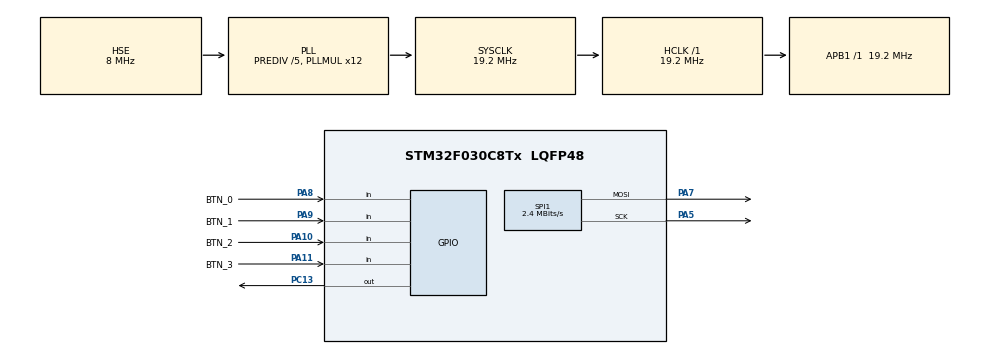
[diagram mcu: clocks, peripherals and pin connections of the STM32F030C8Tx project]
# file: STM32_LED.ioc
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Dma.Request0=SPI1_TX
Dma.SPI1_TX.0.Direction=DMA_MEMORY_TO_PERIPH
Dma.SPI1_TX.0.Instance=DMA1_Channel3
Dma.SPI1_TX.0.MemDataAlignment=DMA_MDATAALIGN_BYTE
Dma.SPI1_TX.0.MemInc=DMA_MINC_ENABLE
Dma.SPI1_TX.0.Mode=DMA_NORMAL
Dma.SPI1_TX.0.PeriphDataAlignment=DMA_PDATAALIGN_BYTE
Dma.SPI1_TX.0.PeriphInc=DMA_PINC_DISABLE
Dma.SPI1_TX.0.Priority=DMA_PRIORITY_LOW
Mcu.Family=STM32F0
Mcu.Name=STM32F030C8Tx
Mcu.Package=LQFP48
NVIC.DMA1_Channel2_3_IRQn=true\:0\:0\:false\:false\:true\:false\:true\:true
PA10.GPIO_Label=BTN_2
PA10.GPIO_PuPd=GPIO_PULLUP
PA10.Signal=GPIO_Input
PA11.GPIO_Label=BTN_3
PA11.GPIO_PuPd=GPIO_PULLUP
PA11.Signal=GPIO_Input
PA5.Mode=TX_Only_Simplex_Unidirect_Master
PA5.Signal=SPI1_SCK
PA7.Mode=TX_Only_Simplex_Unidirect_Master
PA7.Signal=SPI1_MOSI
PA8.GPIO_Label=BTN_0
PA8.GPIO_PuPd=GPIO_PULLUP
PA8.Signal=GPIO_Input
PA9.GPIO_Label=BTN_1
PA9.GPIO_PuPd=GPIO_PULLUP
PA9.Signal=GPIO_Input
PC13.Signal=GPIO_Output
PF0-OSC_IN.Mode=HSE-External-Oscillator
PF0-OSC_IN.Signal=RCC_OSC_IN
PF1-OSC_OUT.Mode=HSE-External-Oscillator
PF1-OSC_OUT.Signal=RCC_OSC_OUT
ProjectManager.HeapSize=0x200
ProjectManager.StackSize=0x400
ProjectManager.TargetToolchain=STM32CubeIDE
RCC.AHBFreq_Value=19200000
RCC.APB1Freq_Value=19200000
RCC.APB1TimFreq_Value=19200000
RCC.HCLKFreq_Value=19200000
RCC.PLLDivider=RCC_PREDIV_DIV5
RCC.PLLMUL=RCC_PLL_MUL12
RCC.PLLSourceVirtual=RCC_PLLSOURCE_HSE
RCC.SYSCLKFreq_VALUE=19200000
RCC.SYSCLKSource=RCC_SYSCLKSOURCE_PLLCLK
SPI1.BaudRatePrescaler=SPI_BAUDRATEPRESCALER_8
SPI1.CalculateBaudRate=2.4 MBits/s
SPI1.DataSize=SPI_DATASIZE_8BIT
SPI1.Direction=SPI_DIRECTION_2LINES
SPI1.Mode=SPI_MODE_MASTER
SPI1.NSSPMode=SPI_NSS_PULSE_DISABLE
SPI1.VirtualType=VM_MASTER
board=custom

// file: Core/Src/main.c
/* USER CODE BEGIN Header */
/**
  ******************************************************************************
  * @file           : main.c
  * @brief          : Main program body
  ******************************************************************************
  * @attention
  *
  * Copyright (c) 2024 STMicroelectronics.
  * All rights reserved.
  *
  * This software is licensed under terms that can be found in the LICENSE file
  * in the root directory of this software component.
  * If no LICENSE file comes with this software, it is provided AS-IS.
  *
  ******************************************************************************
  */
/* USER CODE END Header */
#include "main.h"

/* USER CODE BEGIN Includes */
#include "ws2812-spi.h"
#include "bb_blink.h"
#include "bb_keys.h"
#include "bb_led.h"
/* USER CODE END Includes */

SPI_HandleTypeDef hspi1;
DMA_HandleTypeDef hdma_spi1_tx;

void SystemClock_Config(void);
static void MX_GPIO_Init(void);
static void MX_DMA_Init(void);
static void MX_SPI1_Init(void);

/* USER CODE BEGIN 0 */

ws2812_color bb_led_chromafill_color;

/* USER CODE END 0 */

int main(void)
{

  /* MCU Configuration--------------------------------------------------------*/

  /* Reset of all peripherals, Initializes the Flash interface and the Systick. */
  HAL_Init();

  /* Configure the system clock */
  SystemClock_Config();

  /* Initialize all configured peripherals */
  MX_GPIO_Init();
  MX_DMA_Init();
  MX_SPI1_Init();
  /* USER CODE BEGIN 2 */

  ws2812_init();
  bb_blink_init();
  bb_keys_init();
  bb_led_init();
  bb_led_set_handler(bb_led_fhdl_running);

  /* USER CODE END 2 */

  /* Infinite loop */
  /* USER CODE BEGIN WHILE */
  uint8_t failed = 0;
  uint32_t tick;

  uint8_t bi = 0;
  uint32_t btick;

  uint32_t iatick = HAL_GetTick();
  while (1)
  {
	  tick = HAL_GetTick();

	  bb_blink_tick();
	  if (failed) continue;
	  uint32_t blink_tick = HAL_GetTick();

	  bb_led_tick();
	  uint32_t led_tick = HAL_GetTick();

	  bb_keys_tick();
	  uint32_t keys_tick = HAL_GetTick();

	  if (bb_keys_check_reset(BTN_X)) {
		  bb_blink_pattern = 0b101010;
		  iatick = btick = tick; bi = 1;
		  bb_led_set_handler(bb_led_fhdl_running);
	  }
	  if (bb_keys_check_reset(BTN_R)) {
		  bb_blink_pattern = 0b10101010;
		  iatick = btick = tick; bi = 1;
		  bb_led_set_handler(bb_led_fhdl_chromafill);
		  BB_LED_CHROMA_INC(R, BB_LED_CHROMA_BTN_INC_STEP)
		  BB_LED_CHROMA_DEC(G, BB_LED_CHROMA_BTN_DEC_STEP)
		  BB_LED_CHROMA_DEC(B, BB_LED_CHROMA_BTN_DEC_STEP)
	  }
	  if (bb_keys_check_reset(BTN_G)) {
		  bb_blink_pattern = 0b1010101010;
		  iatick = btick = tick; bi = 1;
		  bb_led_set_handler(bb_led_fhdl_chromafill);
		  BB_LED_CHROMA_DEC(R, BB_LED_CHROMA_BTN_DEC_STEP)
		  BB_LED_CHROMA_INC(G, BB_LED_CHROMA_BTN_INC_STEP)
		  BB_LED_CHROMA_DEC(B, BB_LED_CHROMA_BTN_DEC_STEP)
	  }
	  if (bb_keys_check_reset(BTN_B)) {
		  bb_blink_pattern = 0b101010101010;
		  iatick = btick = tick; bi = 1;
		  bb_led_set_handler(bb_led_fhdl_chromafill);
		  BB_LED_CHROMA_DEC(R, BB_LED_CHROMA_BTN_DEC_STEP)
		  BB_LED_CHROMA_DEC(G, BB_LED_CHROMA_BTN_DEC_STEP)
		  BB_LED_CHROMA_INC(B, BB_LED_CHROMA_BTN_INC_STEP)
	  }
	  if (bi && (HAL_GetTick() - btick > 5000)) {
		  bi = 0;
		  bb_blink_init();
	  }
	  if (tick - iatick > 90000) {
		  bb_led_set_handler(bb_led_fhdl_standby);
	  }

	  uint32_t btn_tick = HAL_GetTick();

#ifndef DEBUG
	  if (btn_tick - tick > 5) {
		  failed = 1;

		  uint32_t blink_time = blink_tick - tick;
		  uint32_t led_time = led_tick - blink_tick;
		  uint32_t keys_time = keys_tick - led_tick;
		  uint32_t btn_time = btn_tick - keys_tick;

		  if (blink_time > led_time && blink_time > keys_time && blink_time > btn_time)
			  bb_blink_pattern = 0b00000000000000001100000111111111;

		  if (led_time > blink_time && led_time > keys_time && led_time > btn_time)
			  bb_blink_pattern = 0b00000000000011001100000111111111;

		  if (keys_time > led_time && keys_time > blink_time && keys_time > btn_time)
			  bb_blink_pattern = 0b00000000110011001100000111111111;

		  if (btn_time > led_time && btn_time > blink_time && btn_time > keys_time)
			  bb_blink_pattern = 0b00001100110011001100000111111111;
	  }
#endif

    /* USER CODE END WHILE */

  }
}

void SystemClock_Config(void)
{
  RCC_OscInitTypeDef RCC_OscInitStruct = {0};
  RCC_ClkInitTypeDef RCC_ClkInitStruct = {0};

  /** Initializes the RCC Oscillators according to the specified parameters
  * in the RCC_OscInitTypeDef structure.
  */
  RCC_OscInitStruct.OscillatorType = RCC_OSCILLATORTYPE_HSE;
  RCC_OscInitStruct.HSEState = RCC_HSE_ON;
  RCC_OscInitStruct.PLL.PLLState = RCC_PLL_ON;
  RCC_OscInitStruct.PLL.PLLSource = RCC_PLLSOURCE_HSE;
  RCC_OscInitStruct.PLL.PLLMUL = RCC_PLL_MUL12;
  RCC_OscInitStruct.PLL.PREDIV = RCC_PREDIV_DIV5;
  if (HAL_RCC_OscConfig(&RCC_OscInitStruct) != HAL_OK)
  {
    Error_Handler();
  }

  /** Initializes the CPU, AHB and APB buses clocks
  */
  RCC_ClkInitStruct.ClockType = RCC_CLOCKTYPE_HCLK|RCC_CLOCKTYPE_SYSCLK
                              |RCC_CLOCKTYPE_PCLK1;
  RCC_ClkInitStruct.SYSCLKSource = RCC_SYSCLKSOURCE_PLLCLK;
  RCC_ClkInitStruct.AHBCLKDivider = RCC_SYSCLK_DIV1;
  RCC_ClkInitStruct.APB1CLKDivider = RCC_HCLK_DIV1;

  if (HAL_RCC_ClockConfig(&RCC_ClkInitStruct, FLASH_LATENCY_0) != HAL_OK)
  {
    Error_Handler();
  }
}

static void MX_SPI1_Init(void)
{

  /* SPI1 parameter configuration*/
  hspi1.Instance = SPI1;
  hspi1.Init.Mode = SPI_MODE_MASTER;
  hspi1.Init.Direction = SPI_DIRECTION_2LINES;
  hspi1.Init.DataSize = SPI_DATASIZE_8BIT;
  hspi1.Init.CLKPolarity = SPI_POLARITY_LOW;
  hspi1.Init.CLKPhase = SPI_PHASE_1EDGE;
  hspi1.Init.NSS = SPI_NSS_SOFT;
  hspi1.Init.BaudRatePrescaler = SPI_BAUDRATEPRESCALER_8;
  hspi1.Init.FirstBit = SPI_FIRSTBIT_MSB;
  hspi1.Init.TIMode = SPI_TIMODE_DISABLE;
  hspi1.Init.CRCCalculation = SPI_CRCCALCULATION_DISABLE;
  hspi1.Init.CRCPolynomial = 7;
  hspi1.Init.CRCLength = SPI_CRC_LENGTH_DATASIZE;
  hspi1.Init.NSSPMode = SPI_NSS_PULSE_DISABLE;
  if (HAL_SPI_Init(&hspi1) != HAL_OK)
  {
    Error_Handler();
  }

}

static void MX_DMA_Init(void)
{

  /* DMA controller clock enable */
  __HAL_RCC_DMA1_CLK_ENABLE();

  /* DMA interrupt init */
  /* DMA1_Channel2_3_IRQn interrupt configuration */
  HAL_NVIC_SetPriority(DMA1_Channel2_3_IRQn, 0, 0);
  HAL_NVIC_EnableIRQ(DMA1_Channel2_3_IRQn);

}

static void MX_GPIO_Init(void)
{
  GPIO_InitTypeDef GPIO_InitStruct = {0};

  /* GPIO Ports Clock Enable */
  __HAL_RCC_GPIOC_CLK_ENABLE();
  __HAL_RCC_GPIOF_CLK_ENABLE();
  __HAL_RCC_GPIOA_CLK_ENABLE();

  /*Configure GPIO pin Output Level */
  HAL_GPIO_WritePin(GPIOC, GPIO_PIN_13, GPIO_PIN_RESET);

  /*Configure GPIO pin : PC13 */
  GPIO_InitStruct.Pin = GPIO_PIN_13;
  GPIO_InitStruct.Mode = GPIO_MODE_OUTPUT_PP;
  GPIO_InitStruct.Pull = GPIO_NOPULL;
  GPIO_InitStruct.Speed = GPIO_SPEED_FREQ_LOW;
  HAL_GPIO_Init(GPIOC, &GPIO_InitStruct);

  /*Configure GPIO pins : BTN_0_Pin BTN_1_Pin BTN_2_Pin BTN_3_Pin */
  GPIO_InitStruct.Pin = BTN_0_Pin|BTN_1_Pin|BTN_2_Pin|BTN_3_Pin;
  GPIO_InitStruct.Mode = GPIO_MODE_INPUT;
  GPIO_InitStruct.Pull = GPIO_PULLUP;
  HAL_GPIO_Init(GPIOA, &GPIO_InitStruct);

}

void Error_Handler(void)
{
  __disable_irq();
  while (1)
  {
  }
}
